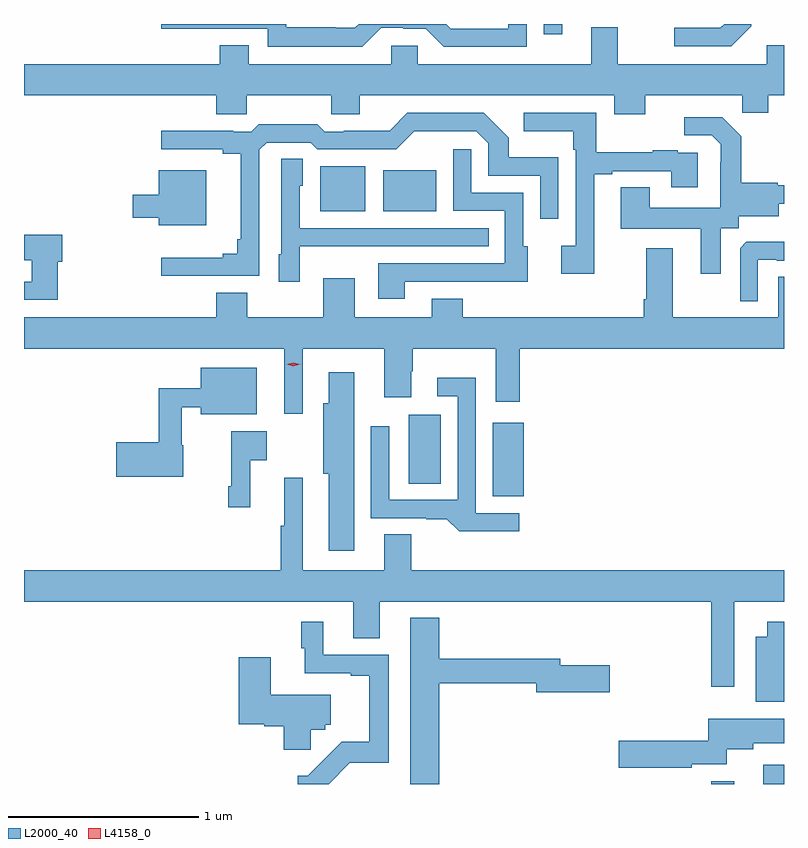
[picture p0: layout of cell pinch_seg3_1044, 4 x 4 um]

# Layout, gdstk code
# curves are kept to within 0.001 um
import gdstk
lib = gdstk.Library(unit=1e-6, precision=1e-09)
def R(c, l, rs):  # rectangles x0, y0, x1, y1
    for r in rs: c.add(gdstk.rectangle(r[:2], r[2:], *l))
def P(c, l, *ps):  # polygons
    for p in ps: c.add(gdstk.Polygon(p, *l))
L2000_40 = (2000, 40)
L4158_0 = (4158, 0)

pinch_seg3_1044 = lib.new_cell('pinch_seg3_1044')
R(pinch_seg3_1044, L2000_40, [(355.41,742.58,355.531,742.594), (355.685,742.58,355.793,742.681), (354.26,744.095,354.424,744.481), (353.819,744.16,353.986,744.523), (353.351,745.595,353.59,745.831), (353.684,745.595,353.962,745.81), (354.529,746.526,354.625,746.58)])
P(pinch_seg3_1044, L2000_40, [(353.673,746.559),(353.789,746.559),(353.789,746.556),(353.907,746.556),(354.003,746.46),(354.438,746.46),(354.438,746.58),(354.342,746.58),(354.342,746.556),(354.039,746.556),(354.015,746.58),(353.556,746.58),(353.535,746.559),(353.435,746.559),(353.435,746.563),(353.172,746.563),(353.172,746.58),(352.515,746.58),(352.515,746.556),(353.076,746.556),(353.076,746.459),(353.573,746.459)],
  [(355.621,746.569),(355.621,746.58),(355.479,746.58),(355.458,746.559),(355.215,746.559),(355.215,746.463),(355.515,746.463)],
  [(351.793,746.204),(352.805,746.204),(352.805,746.106),(352.965,746.106),(352.965,746.204),(353.41,746.204),(353.41,746.106),(353.56,746.106),(353.56,746.204),(354.899,746.204),(354.899,746.105),(355.063,746.105),(355.063,746.204),(355.573,746.204),(355.573,746.114),(355.711,746.114),(355.711,746.204),(355.793,746.204),(355.793,746.467),(355.703,746.467),(355.703,746.368),(354.919,746.368),(354.919,746.563),(354.779,746.563),(354.779,746.368),(353.865,746.368),(353.865,746.466),(353.727,746.466),(353.727,746.368),(352.975,746.368),(352.975,746.467),(352.823,746.467),(352.823,746.368),(351.793,746.368)],
  [(354.793,745.788),(354.889,745.788),(354.889,745.806),(355.199,745.806),(355.199,745.722),(355.339,745.722),(355.339,745.902),(355.235,745.902),(355.235,745.915),(355.103,745.915),(355.103,745.904),(354.805,745.904),(354.805,746.112),(354.423,746.112),(354.423,746.015),(354.684,746.015),(354.684,745.919),(354.696,745.919),(354.696,745.414),(354.621,745.414),(354.621,745.266),(354.793,745.266)],
  [(353.031,745.917),(353.07,745.956),(353.301,745.956),(353.337,745.92),(353.751,745.92),(353.846,746.015),(354.174,746.016),(354.237,745.953),(354.237,745.782),(354.51,745.782),(354.51,745.554),(354.606,745.554),(354.606,745.879),(354.345,745.879),(354.345,745.982),(354.214,746.112),(353.811,746.112),(353.717,746.018),(353.476,746.018),(353.476,746.013),(353.376,746.013),(353.337,746.053),(353.029,746.053),(352.989,746.013),(352.895,746.013),(352.895,746.018),(352.515,746.018),(352.515,745.92),(352.838,745.92),(352.838,745.898),(352.934,745.898),(352.934,745.447),(352.915,745.447),(352.915,745.37),(352.838,745.37),(352.838,745.351),(352.515,745.351),(352.515,745.254),(353.031,745.254)],
  [(355.459,745.504),(355.554,745.504),(355.554,745.568),(355.765,745.568),(355.765,745.635),(355.793,745.635),(355.793,745.731),(355.761,745.731),(355.761,745.744),(355.569,745.744),(355.569,745.989),(355.469,746.089),(355.269,746.089),(355.269,745.995),(355.413,745.995),(355.46,745.948),(355.46,745.853),(355.458,745.853),(355.458,745.612),(355.087,745.612),(355.087,745.721),(354.935,745.721),(354.935,745.502),(355.355,745.502),(355.355,745.266),(355.459,745.266)],
  [(353.797,745.224),(354.227,745.224),(354.227,745.223),(354.445,745.223),(354.445,745.41),(354.42,745.41),(354.42,745.692),(354.147,745.692),(354.147,745.921),(354.051,745.921),(354.051,745.596),(354.324,745.596),(354.324,745.32),(353.657,745.32),(353.657,745.134),(353.797,745.134)],
  [(353.244,745.409),(353.561,745.409),(353.561,745.41),(354.239,745.41),(354.239,745.506),(353.244,745.506),(353.244,745.728),(353.26,745.728),(353.26,745.871),(353.148,745.871),(353.148,745.368),(353.135,745.368),(353.135,745.224),(353.244,745.224)],
  [(352.753,745.81),(352.502,745.81),(352.502,745.681),(352.365,745.681),(352.365,745.559),(352.502,745.559),(352.502,745.52),(352.753,745.52)],
  [(351.971,745.33),(351.995,745.33),(351.995,745.472),(351.793,745.472),(351.793,745.337),(351.835,745.337),(351.835,745.224),(351.793,745.224),(351.793,745.128),(351.971,745.128)],
  [(355.656,745.338),(355.756,745.338),(355.756,745.335),(355.793,745.335),(355.793,745.433),(355.595,745.433),(355.563,745.401),(355.563,745.121),(355.656,745.121)],
  [(353.26,744.872),(353.69,744.872),(353.69,744.615),(353.83,744.615),(353.83,744.752),(353.838,744.752),(353.838,744.872),(354.275,744.872),(354.275,744.591),(354.401,744.591),(354.401,744.872),(355.793,744.872),(355.793,745.25),(355.764,745.25),(355.764,745.036),(355.207,745.036),(355.207,745.399),(355.067,745.399),(355.067,745.132),(355.055,745.132),(355.055,745.036),(354.103,745.036),(354.103,745.135),(353.939,745.135),(353.939,745.036),(353.533,745.036),(353.533,745.243),(353.369,745.243),(353.369,745.036),(352.969,745.036),(352.969,745.165),(352.805,745.165),(352.805,745.036),(351.793,745.036),(351.793,744.872),(353.162,744.872),(353.162,744.528),(353.26,744.528)],
  [(352.63,744.363),(352.622,744.363),(352.622,744.563),(352.724,744.563),(352.724,744.527),(353.017,744.527),(353.017,744.772),(352.724,744.772),(352.724,744.662),(352.501,744.662),(352.501,744.38),(352.278,744.38),(352.278,744.197),(352.63,744.197)],
  [(353.53,744.748),(353.396,744.748),(353.396,744.585),(353.368,744.585),(353.368,744.213),(353.396,744.213),(353.396,743.808),(353.53,743.808)],
  [(354.4,744.006),(354.171,744.006),(354.171,744.718),(353.967,744.718),(353.967,744.621),(354.075,744.621),(354.075,744.075),(353.715,744.075),(353.715,744.463),(353.619,744.463),(353.619,743.979),(353.909,743.979),(353.909,743.974),(354.017,743.974),(354.083,743.909),(354.4,743.909)],
  [(352.985,744.284),(353.071,744.284),(353.071,744.436),(352.885,744.436),(352.885,744.148),(352.867,744.148),(352.867,744.036),(352.985,744.036)],
  [(353.26,744.193),(353.162,744.193),(353.162,743.94),(353.143,743.94),(353.143,743.704),(351.793,743.704),(351.793,743.54),(353.525,743.54),(353.525,743.346),(353.665,743.346),(353.665,743.54),(355.41,743.54),(355.41,743.091),(355.531,743.091),(355.531,743.54),(355.793,743.54),(355.793,743.704),(353.83,743.704),(353.83,743.894),(353.69,743.894),(353.69,743.704),(353.26,743.704)],
  [(353.978,743.11),(354.488,743.11),(354.488,743.063),(354.877,743.063),(354.877,743.205),(354.616,743.205),(354.616,743.239),(353.978,743.239),(353.978,743.455),(353.825,743.455),(353.825,742.58),(353.978,742.58)],
  [(355.793,743.434),(355.706,743.434),(355.706,743.356),(355.643,743.356),(355.643,743.012),(355.793,743.012)],
  [(353.508,742.692),(353.713,742.692),(353.713,743.259),(353.368,743.259),(353.368,743.434),(353.251,743.434),(353.251,743.294),(353.27,743.294),(353.27,743.163),(353.513,743.163),(353.513,743.151),(353.609,743.151),(353.609,742.802),(353.465,742.802),(353.287,742.624),(353.234,742.624),(353.234,742.58),(353.396,742.58)],
  [(353.303,742.866),(353.379,742.866),(353.379,742.893),(353.407,742.893),(353.407,743.05),(353.092,743.05),(353.092,743.248),(352.922,743.248),(352.922,742.895),(353.057,742.895),(353.057,742.883),(353.159,742.883),(353.159,742.761),(353.303,742.761)],
  [(355.308,742.685),(355.491,742.685),(355.491,742.763),(355.63,742.763),(355.63,742.795),(355.793,742.795),(355.793,742.924),(355.395,742.924),(355.395,742.808),(354.924,742.808),(354.924,742.666),(355.308,742.666)])
P(pinch_seg3_1044, L4158_0, [(353.211,744.779),(353.175,744.788),(353.175,744.788),(353.175,744.788),(353.211,744.798),(353.247,744.789),(353.247,744.789),(353.247,744.789)])

lib.write_gds('pinch_seg3_1044.gds')
